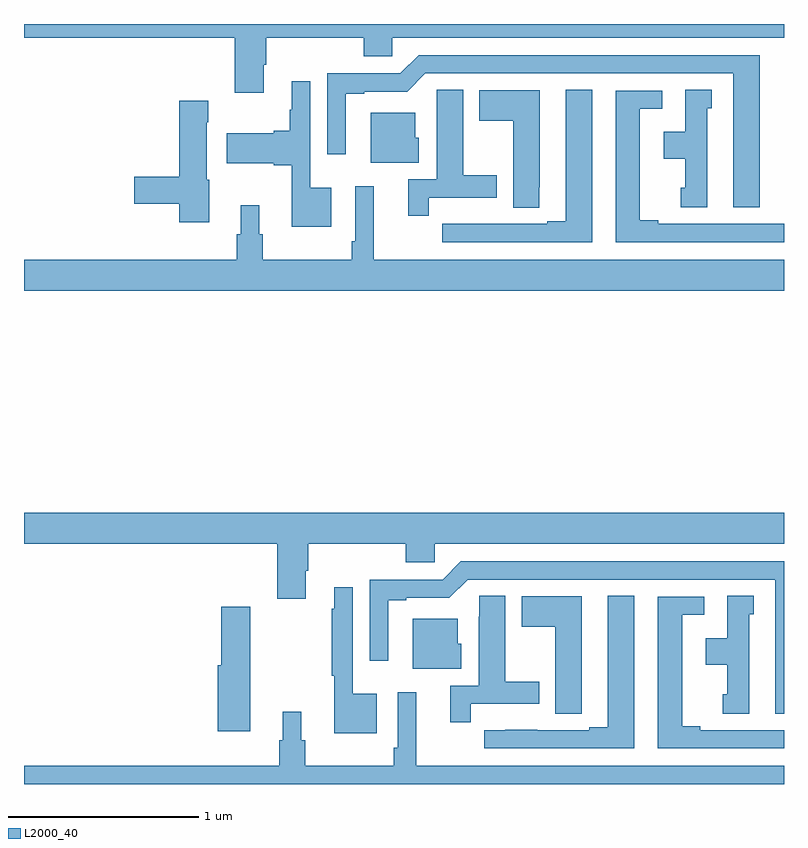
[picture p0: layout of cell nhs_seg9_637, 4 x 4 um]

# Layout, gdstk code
import gdstk
lib = gdstk.Library(unit=1e-6, precision=1e-09)
def P(c, l, *ps):  # polygons
    for p in ps: c.add(gdstk.Polygon(p, *l))
L2000_40 = (2000, 40)

nhs_seg9_637 = lib.new_cell('nhs_seg9_637')
P(nhs_seg9_637, L2000_40, [(144.262,1188.286),(144.275,1188.286),(144.275,1188.428),(144.788,1188.428),(144.788,1188.33),(144.939,1188.33),(144.939,1188.428),(147,1188.428),(147,1188.5),(143,1188.5),(143,1188.428),(144.11,1188.428),(144.11,1188.138),(144.262,1188.138)],
  [(146.872,1188.336),(145.077,1188.336),(144.981,1188.24),(144.597,1188.24),(144.597,1187.814),(144.694,1187.814),(144.694,1188.132),(144.79,1188.132),(144.79,1188.144),(145.017,1188.144),(145.113,1188.24),(146.732,1188.24),(146.732,1187.535),(146.872,1187.535)],
  [(144.616,1187.638),(144.507,1187.638),(144.507,1188.199),(144.41,1188.199),(144.41,1188.05),(144.399,1188.05),(144.399,1187.939),(144.314,1187.939),(144.314,1187.926),(144.066,1187.926),(144.066,1187.768),(144.314,1187.768),(144.314,1187.756),(144.41,1187.756),(144.41,1187.432),(144.616,1187.432)],
  [(146.596,1188.057),(146.62,1188.057),(146.62,1188.155),(146.48,1188.155),(146.48,1187.932),(146.366,1187.932),(146.366,1187.792),(146.48,1187.792),(146.48,1187.637),(146.456,1187.637),(146.456,1187.535),(146.596,1187.535)],
  [(145.99,1188.155),(145.85,1188.155),(145.85,1187.463),(145.754,1187.463),(145.754,1187.448),(145.478,1187.448),(145.478,1187.449),(145.312,1187.449),(145.312,1187.448),(145.2,1187.448),(145.2,1187.352),(145.99,1187.352)],
  [(145.13,1187.586),(145.489,1187.586),(145.489,1187.703),(145.312,1187.703),(145.312,1188.155),(145.173,1188.155),(145.173,1188.044),(145.172,1188.044),(145.172,1187.682),(145.022,1187.682),(145.022,1187.49),(145.13,1187.49)],
  [(145.713,1187.641),(145.714,1187.641),(145.714,1188.151),(145.397,1188.151),(145.397,1187.992),(145.574,1187.992),(145.574,1187.533),(145.713,1187.533)],
  [(147,1187.448),(146.338,1187.448),(146.338,1187.468),(146.242,1187.468),(146.242,1188.054),(146.359,1188.054),(146.359,1188.15),(146.114,1188.15),(146.114,1187.352),(147,1187.352)],
  [(143.976,1187.679),(143.962,1187.679),(143.962,1187.984),(143.97,1187.984),(143.97,1188.097),(143.816,1188.097),(143.816,1187.696),(143.58,1187.696),(143.58,1187.554),(143.816,1187.554),(143.816,1187.456),(143.976,1187.456)],
  [(145.078,1187.901),(145.06,1187.901),(145.06,1188.034),(144.824,1188.034),(144.824,1187.771),(145.078,1187.771)],
  [(147,1187.26),(144.842,1187.26),(144.842,1187.647),(144.744,1187.647),(144.744,1187.356),(144.724,1187.356),(144.724,1187.26),(144.257,1187.26),(144.257,1187.394),(144.238,1187.394),(144.238,1187.545),(144.14,1187.545),(144.14,1187.394),(144.121,1187.394),(144.121,1187.26),(143,1187.26),(143,1187.096),(147,1187.096)],
  [(144.484,1185.622),(144.497,1185.622),(144.497,1185.764),(145.01,1185.764),(145.01,1185.666),(145.161,1185.666),(145.161,1185.764),(147,1185.764),(147,1185.928),(143,1185.928),(143,1185.764),(144.332,1185.764),(144.332,1185.474),(144.484,1185.474)],
  [(147,1185.672),(145.299,1185.672),(145.203,1185.576),(144.819,1185.576),(144.819,1185.15),(144.916,1185.15),(144.916,1185.468),(145.012,1185.468),(145.012,1185.48),(145.239,1185.48),(145.335,1185.576),(146.954,1185.576),(146.954,1184.871),(147,1184.871)],
  [(144.856,1184.974),(144.729,1184.974),(144.729,1185.535),(144.632,1185.535),(144.632,1185.422),(144.621,1185.422),(144.621,1185.07),(144.632,1185.07),(144.632,1184.768),(144.856,1184.768)],
  [(146.212,1185.491),(146.072,1185.491),(146.072,1184.799),(145.976,1184.799),(145.976,1184.784),(145.7,1184.784),(145.7,1184.785),(145.534,1184.785),(145.534,1184.784),(145.422,1184.784),(145.422,1184.688),(146.212,1184.688)],
  [(145.352,1184.922),(145.711,1184.922),(145.711,1185.039),(145.534,1185.039),(145.534,1185.491),(145.395,1185.491),(145.395,1185.38),(145.394,1185.38),(145.394,1185.018),(145.244,1185.018),(145.244,1184.826),(145.352,1184.826)],
  [(146.818,1185.393),(146.842,1185.393),(146.842,1185.491),(146.702,1185.491),(146.702,1185.268),(146.588,1185.268),(146.588,1185.128),(146.702,1185.128),(146.702,1184.973),(146.678,1184.973),(146.678,1184.871),(146.818,1184.871)],
  [(145.935,1184.977),(145.936,1184.977),(145.936,1185.487),(145.619,1185.487),(145.619,1185.328),(145.796,1185.328),(145.796,1184.869),(145.935,1184.869)],
  [(147,1184.784),(146.56,1184.784),(146.56,1184.804),(146.464,1184.804),(146.464,1185.39),(146.581,1185.39),(146.581,1185.486),(146.336,1185.486),(146.336,1184.688),(147,1184.688)],
  [(144.19,1185.126),(144.192,1185.126),(144.192,1185.433),(144.038,1185.433),(144.038,1185.126),(144.02,1185.126),(144.02,1184.778),(144.19,1184.778)],
  [(145.3,1185.237),(145.282,1185.237),(145.282,1185.37),(145.046,1185.37),(145.046,1185.107),(145.3,1185.107)],
  [(147,1184.596),(145.064,1184.596),(145.064,1184.983),(144.966,1184.983),(144.966,1184.692),(144.946,1184.692),(144.946,1184.596),(144.479,1184.596),(144.479,1184.73),(144.46,1184.73),(144.46,1184.881),(144.362,1184.881),(144.362,1184.73),(144.343,1184.73),(144.343,1184.596),(143,1184.596),(143,1184.5),(147,1184.5)])

lib.write_gds('nhs_seg9_637.gds')
